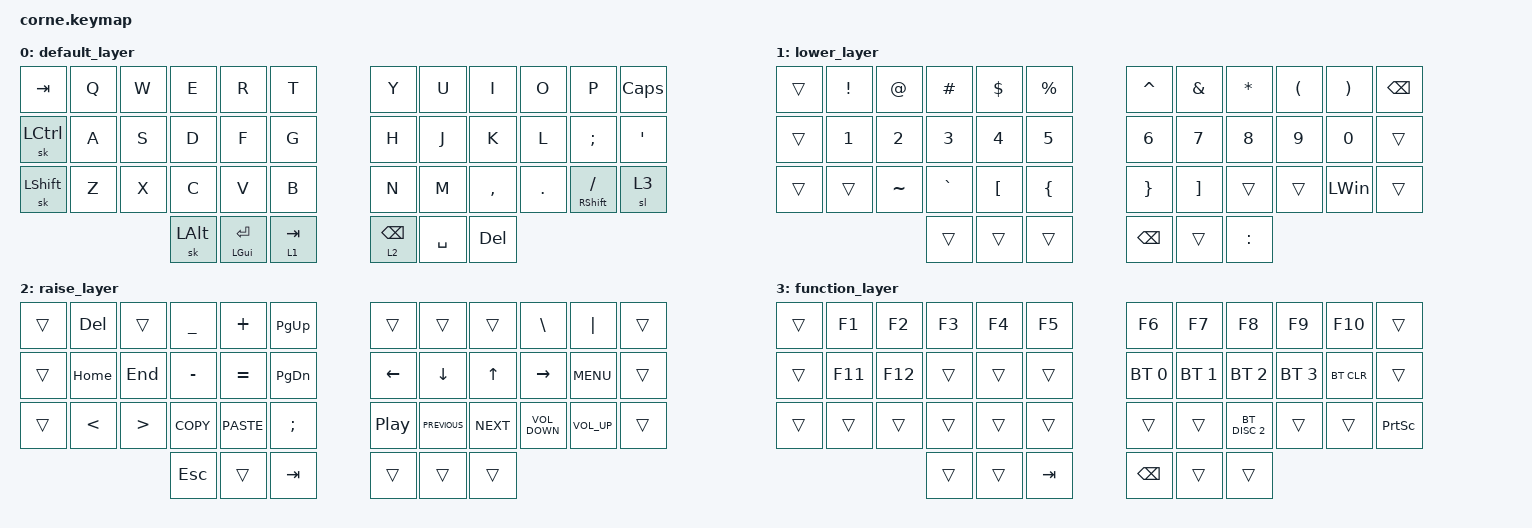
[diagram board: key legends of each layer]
/*
 * Copyright 2024 Michał Minarowski (@n3oney)
 * 
 * Originally created for QMK by Mark Stosberg (@markstos)
 * 
 * SPDX-License-Identifier: GPL-2.0-or-later
 */

#include <behaviors.dtsi>
#include <dt-bindings/zmk/bt.h>
#include <dt-bindings/zmk/keys.h>

/ {
    combos {
        compatible = "zmk,combos";

        combo_esc {
            timeout-ms = <50>;
            key-positions = <19 20>;
            bindings = <&kp ESC>;
            layers = <0>;
        };
    };

    keymap {
        compatible = "zmk,keymap";

        default_layer {
            bindings = <
&kp TAB           &kp Q  &kp W  &kp E     &kp R               &kp T        &kp Y            &kp U      &kp I      &kp O    &kp P                  &kp CAPS
&sk LEFT_CONTROL  &kp A  &kp S  &kp D     &kp F               &kp G        &kp H            &kp J      &kp K      &kp L    &kp SEMICOLON          &kp SQT
&sk LSHFT         &kp Z  &kp X  &kp C     &kp V               &kp B        &kp N            &kp M      &kp COMMA  &kp DOT  &mt RIGHT_SHIFT SLASH  &sl 3
                                &sk LALT  &mt LEFT_GUI ENTER  &lt 1 TAB    &lt 2 BACKSPACE  &kp SPACE  &kp DEL
            >;
        };

        lower_layer {
            bindings = <
&trans  &kp EXCLAMATION  &kp AT_SIGN   &kp POUND     &kp DOLLAR        &kp PERCENT       &kp CARET        &kp AMPERSAND      &kp ASTERISK  &kp LEFT_PARENTHESIS  &kp RIGHT_PARENTHESIS  &kp BSPC
&trans  &kp NUMBER_1     &kp NUMBER_2  &kp NUMBER_3  &kp NUMBER_4      &kp NUMBER_5      &kp NUMBER_6     &kp NUMBER_7       &kp NUMBER_8  &kp NUMBER_9          &kp NUMBER_0           &trans
&trans  &trans           &kp TILDE     &kp GRAVE     &kp LEFT_BRACKET  &kp LEFT_BRACE    &kp RIGHT_BRACE  &kp RIGHT_BRACKET  &trans        &trans                &kp LEFT_WIN           &trans
                                       &trans        &trans            &trans            &kp BACKSPACE    &trans             &kp COLON
            >;
        };

        raise_layer {
            bindings = <
&trans  &kp DELETE     &trans            &kp UNDERSCORE  &kp PLUS     &kp PAGE_UP      &trans            &trans          &trans        &kp BACKSLASH      &kp PIPE         &trans
&trans  &kp HOME       &kp END           &kp MINUS       &kp EQUAL    &kp PAGE_DOWN    &kp LEFT          &kp DOWN        &kp UP_ARROW  &kp RIGHT          &kp K_MENU       &trans
&trans  &kp LESS_THAN  &kp GREATER_THAN  &kp K_COPY      &kp K_PASTE  &kp SEMICOLON    &kp C_PLAY_PAUSE  &kp C_PREVIOUS  &kp C_NEXT    &kp C_VOLUME_DOWN  &kp C_VOLUME_UP  &trans
                                         &kp ESCAPE      &trans       &kp TAB          &trans            &trans          &trans
            >;
        };

        function_layer {
            bindings = <
&trans  &kp F1   &kp F2   &kp F3  &kp F4  &kp F5     &kp F6         &kp F7        &kp F8         &kp F9        &kp F10     &trans
&trans  &kp F11  &kp F12  &trans  &trans  &trans     &bt BT_SEL 0   &bt BT_SEL 1  &bt BT_SEL 2   &bt BT_SEL 3  &bt BT_CLR  &trans
&trans  &trans   &trans   &trans  &trans  &trans     &trans         &trans        &bt BT_DISC 2  &trans        &trans      &kp PRINTSCREEN
                          &trans  &trans  &kp TAB    &kp BACKSPACE  &trans        &trans
            >;
        };
    };
};
